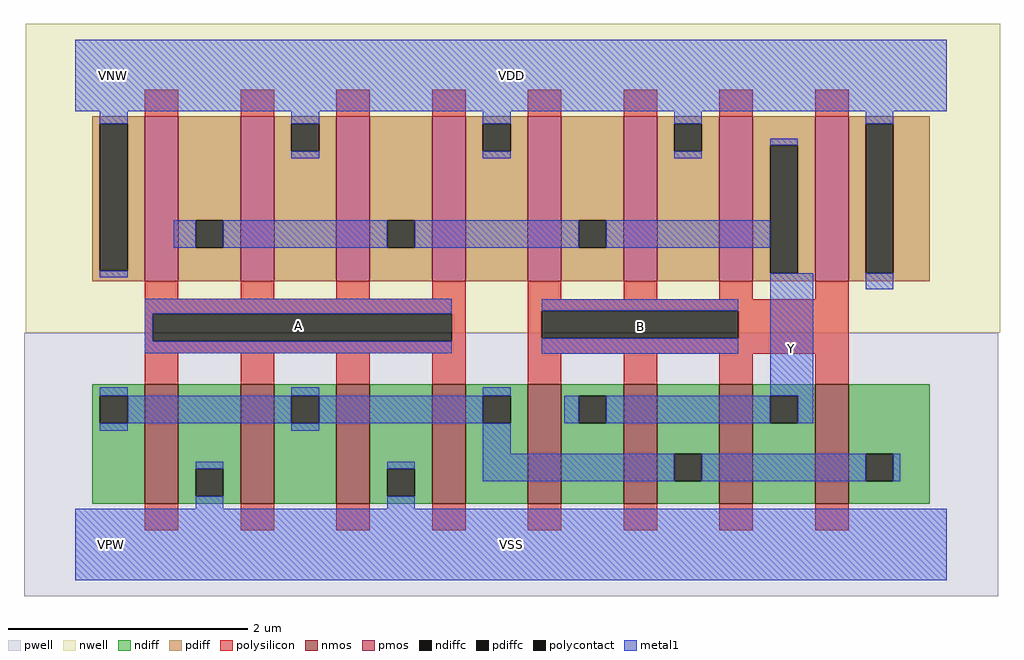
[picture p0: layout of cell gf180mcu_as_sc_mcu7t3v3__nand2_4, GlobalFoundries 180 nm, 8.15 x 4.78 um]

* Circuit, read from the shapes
.subckt gf180mcu_as_sc_mcu7t3v3__nand2_4 VDD VNW VPW VSS Y A B
XM1 VSS A n1 VPW nfet_03v3 w=1u l=0.28u m=4
XM2 Y B n1 VPW nfet_03v3 w=1u l=0.28u m=4
XM3 Y A VDD VNW pfet_03v3 w=1.38u l=0.28u m=4
XM4 Y B VDD VNW pfet_03v3 w=1.38u l=0.28u m=4
.ends

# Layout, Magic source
magic
tech gf180mcuD
magscale 1 10
<< nwell >>
rect -83 354 1545 870
<< pwell >>
rect -86 -86 1542 354
<< nmos >>
rect 116 68 172 268
rect 276 68 332 268
rect 436 68 492 268
rect 596 68 652 268
rect 756 68 812 268
rect 916 68 972 268
rect 1076 68 1132 268
rect 1236 68 1292 268
<< pmos >>
rect 116 440 172 716
rect 276 440 332 716
rect 436 440 492 716
rect 596 440 652 716
rect 756 440 812 716
rect 916 440 972 716
rect 1076 440 1132 716
rect 1236 440 1292 716
<< ndiff >>
rect 28 249 116 268
rect 28 203 41 249
rect 87 203 116 249
rect 28 68 116 203
rect 172 127 276 268
rect 172 81 201 127
rect 247 81 276 127
rect 172 68 276 81
rect 332 249 436 268
rect 332 203 361 249
rect 407 203 436 249
rect 332 68 436 203
rect 492 127 596 268
rect 492 81 521 127
rect 567 81 596 127
rect 492 68 596 81
rect 652 249 756 268
rect 652 203 681 249
rect 727 203 756 249
rect 652 68 756 203
rect 812 249 916 268
rect 812 203 841 249
rect 887 203 916 249
rect 812 68 916 203
rect 972 152 1076 268
rect 972 106 1001 152
rect 1047 106 1076 152
rect 972 68 1076 106
rect 1132 249 1236 268
rect 1132 203 1161 249
rect 1207 203 1236 249
rect 1132 68 1236 203
rect 1292 152 1428 268
rect 1292 106 1321 152
rect 1367 106 1428 152
rect 1292 68 1428 106
<< pdiff >>
rect 28 703 116 716
rect 28 458 41 703
rect 87 458 116 703
rect 28 440 116 458
rect 172 542 276 716
rect 172 496 201 542
rect 247 496 276 542
rect 172 440 276 496
rect 332 703 436 716
rect 332 657 361 703
rect 407 657 436 703
rect 332 440 436 657
rect 492 542 596 716
rect 492 496 521 542
rect 567 496 596 542
rect 492 440 596 496
rect 652 703 756 716
rect 652 657 681 703
rect 727 657 756 703
rect 652 440 756 657
rect 812 542 916 716
rect 812 496 841 542
rect 887 496 916 542
rect 812 440 916 496
rect 972 703 1076 716
rect 972 657 1001 703
rect 1047 657 1076 703
rect 972 440 1076 657
rect 1132 667 1236 716
rect 1132 453 1161 667
rect 1207 453 1236 667
rect 1132 440 1236 453
rect 1292 703 1428 716
rect 1292 453 1321 703
rect 1367 453 1428 703
rect 1292 440 1428 453
<< ndiffc >>
rect 41 203 87 249
rect 201 81 247 127
rect 361 203 407 249
rect 521 81 567 127
rect 681 203 727 249
rect 841 203 887 249
rect 1001 106 1047 152
rect 1161 203 1207 249
rect 1321 106 1367 152
<< pdiffc >>
rect 41 458 87 703
rect 201 496 247 542
rect 361 657 407 703
rect 521 496 567 542
rect 681 657 727 703
rect 841 496 887 542
rect 1001 657 1047 703
rect 1161 453 1207 667
rect 1321 453 1367 703
<< polysilicon >>
rect 116 716 172 760
rect 276 716 332 760
rect 436 716 492 760
rect 596 716 652 760
rect 756 716 812 760
rect 916 716 972 760
rect 1076 716 1132 760
rect 1236 716 1292 760
rect 116 411 172 440
rect 276 411 332 440
rect 436 411 492 440
rect 596 411 652 440
rect 116 386 652 411
rect 116 340 129 386
rect 629 340 652 386
rect 116 320 652 340
rect 116 268 172 320
rect 276 268 332 320
rect 436 268 492 320
rect 596 268 652 320
rect 756 410 812 440
rect 916 410 972 440
rect 1076 410 1132 440
rect 1236 410 1292 440
rect 756 391 1292 410
rect 756 345 779 391
rect 1108 345 1292 391
rect 756 319 1292 345
rect 756 268 812 319
rect 916 268 972 319
rect 1076 268 1132 319
rect 1236 268 1292 319
rect 116 24 172 68
rect 276 24 332 68
rect 436 24 492 68
rect 596 24 652 68
rect 756 24 812 68
rect 916 24 972 68
rect 1076 24 1132 68
rect 1236 24 1292 68
<< polycontact >>
rect 129 340 629 386
rect 779 345 1108 391
<< metal1 >>
rect 0 724 1456 844
rect 41 703 87 724
rect 361 703 407 724
rect 361 646 407 657
rect 681 703 727 724
rect 681 646 727 657
rect 1001 703 1047 724
rect 1321 703 1367 724
rect 1001 646 1047 657
rect 1161 667 1207 678
rect 164 496 201 542
rect 247 496 521 542
rect 567 496 841 542
rect 887 496 1161 542
rect 41 447 87 458
rect 116 386 629 411
rect 116 340 129 386
rect 116 320 629 340
rect 779 391 1108 410
rect 779 319 1108 345
rect 41 249 87 263
rect 361 249 407 263
rect 681 249 727 263
rect 1161 249 1233 453
rect 1321 427 1367 453
rect 87 203 361 249
rect 407 203 681 249
rect 817 203 841 249
rect 887 203 1161 249
rect 1207 203 1233 249
rect 41 190 87 203
rect 361 190 407 203
rect 681 152 727 203
rect 201 127 247 138
rect 201 60 247 81
rect 521 127 567 138
rect 681 106 1001 152
rect 1047 106 1321 152
rect 1367 106 1378 152
rect 521 60 567 81
rect 0 -60 1456 60
<< labels >>
flabel metal1 s 0 724 1456 844 0 FreeSans 400 0 0 0 VDD
port 1 nsew power bidirectional abutment
flabel metal1 s 0 -60 1456 60 0 FreeSans 400 0 0 0 VSS
port 4 nsew ground bidirectional abutment
flabel pwell s 10 -50 110 50 0 FreeSans 400 0 0 0 VPW
port 3 nsew ground bidirectional
flabel nwell s 13 734 113 834 0 FreeSans 400 0 0 0 VNW
port 2 nsew power bidirectional
flabel metal1 1161 203 1233 453 0 FreeSans 200 0 0 0 Y
port 5 nsew signal output
flabel metal1 116 320 629 411 0 FreeSans 200 0 0 0 A
port 6 nsew signal input
flabel metal1 779 319 1108 410 0 FreeSans 200 0 0 0 B
port 7 nsew signal input
<< properties >>
string FIXED_BBOX 0 0 1456 784
string LEFclass CORE
string LEFsite unithd
string LEFsymmetry X Y
string MASKHINTS_NPLUS -16 -46 1472 354
string MASKHINTS_PPLUS -13 354 1475 830
<< end >>
